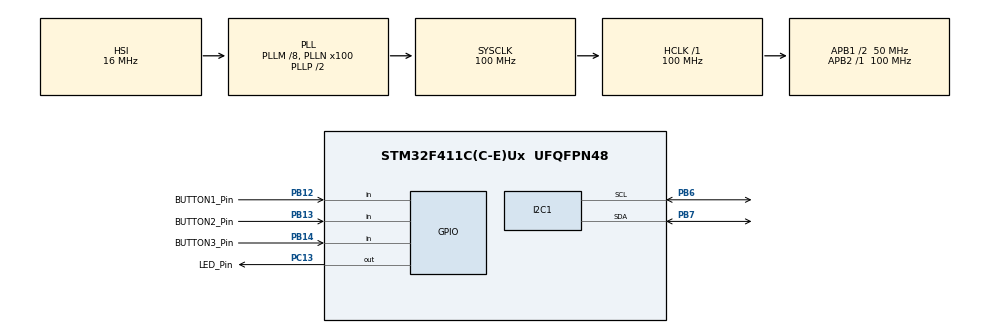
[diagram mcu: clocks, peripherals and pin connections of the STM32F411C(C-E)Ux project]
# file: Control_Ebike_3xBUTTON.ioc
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Mcu.Family=STM32F4
Mcu.Name=STM32F411C(C-E)Ux
Mcu.Package=UFQFPN48
NVIC.PriorityGroup=NVIC_PRIORITYGROUP_4
PA13.Mode=Serial_Wire
PA13.Signal=SYS_JTMS-SWDIO
PA14.Mode=Serial_Wire
PA14.Signal=SYS_JTCK-SWCLK
PB12.GPIO_Label=BUTTON1_Pin
PB12.Signal=GPIO_Input
PB13.GPIO_Label=BUTTON2_Pin
PB13.Signal=GPIO_Input
PB14.GPIO_Label=BUTTON3_Pin
PB14.Signal=GPIO_Input
PB6.Mode=I2C
PB6.Signal=I2C1_SCL
PB7.Mode=I2C
PB7.Signal=I2C1_SDA
PC13-ANTI_TAMP.GPIO_Label=LED_Pin
PC13-ANTI_TAMP.Signal=GPIO_Output
PH0\ -\ OSC_IN.Mode=HSE-External-Oscillator
PH0\ -\ OSC_IN.Signal=RCC_OSC_IN
PH1\ -\ OSC_OUT.Mode=HSE-External-Oscillator
PH1\ -\ OSC_OUT.Signal=RCC_OSC_OUT
ProjectManager.HeapSize=0x200
ProjectManager.StackSize=0x400
ProjectManager.TargetToolchain=STM32CubeIDE
RCC.48MHZClocksFreq_Value=50000000
RCC.AHBFreq_Value=100000000
RCC.APB1CLKDivider=RCC_HCLK_DIV2
RCC.APB1Freq_Value=50000000
RCC.APB1TimFreq_Value=100000000
RCC.APB2Freq_Value=100000000
RCC.APB2TimFreq_Value=100000000
RCC.CortexFreq_Value=100000000
RCC.HCLKFreq_Value=100000000
RCC.HSE_VALUE=25000000
RCC.HSI_VALUE=16000000
RCC.LSE_VALUE=32768
RCC.PLLM=8
RCC.PLLN=100
RCC.SYSCLKFreq_VALUE=100000000
RCC.SYSCLKSource=RCC_SYSCLKSOURCE_PLLCLK
RCC.VCOOutputFreq_Value=200000000
TIM1.Prescaler=100-10
VP_TIM1_VS_ClockSourceINT.Mode=Internal
board=custom

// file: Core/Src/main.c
/* USER CODE BEGIN Header */
/**
  ******************************************************************************
  * @file           : main.c
  * @brief          : Main program body
  ******************************************************************************
  * @attention
  *
  * Copyright (c) 2024 STMicroelectronics.
  * All rights reserved.
  *
  * This software is licensed under terms that can be found in the LICENSE file
  * in the root directory of this software component.
  * If no LICENSE file comes with this software, it is provided AS-IS.
  *
  ******************************************************************************
  */
/* USER CODE END Header */
#include "main.h"
#include "i2c.h"
#include "tim.h"
#include "gpio.h"

/* USER CODE BEGIN Includes */

#include "buttons.h"
#include "stdint.h"

/* USER CODE END Includes */

/* USER CODE BEGIN PV */
BUTTON_T BUTTON1_Pin;
BUTTON_T BUTTON2_Pin;
BUTTON_T BUTTON3_Pin;
/* USER CODE END PV */

void SystemClock_Config(void);
/* USER CODE BEGIN PFP */
void TurnOnLed(void);
void TurnOffLed(void);
void ToggleLed(void);
/* USER CODE END PFP */

int main(void)
{

  /* MCU Configuration--------------------------------------------------------*/

  /* Reset of all peripherals, Initializes the Flash interface and the Systick. */
  HAL_Init();

  /* Configure the system clock */
  SystemClock_Config();

  /* Initialize all configured peripherals */
  MX_GPIO_Init();
  MX_I2C1_Init();
  MX_TIM1_Init();
  /* USER CODE BEGIN 2 */

  Button_Init(&BUTTON1_Pin, BUTTON1_Pin_GPIO_Port, BUTTON1_Pin_Pin, 20, 2000, 500);
  Button_Init(&BUTTON2_Pin, BUTTON2_Pin_GPIO_Port, BUTTON2_Pin_Pin, 30, 2000, 500);
  Button_Init(&BUTTON3_Pin, BUTTON3_Pin_GPIO_Port, BUTTON3_Pin_Pin, 40, 2000, 500);
  Button_Register_Press_CallBack(&BUTTON1_Pin, TurnOnLed);
  Button_Register_LongPress_CallBack(&BUTTON2_Pin, TurnOffLed);
  Button_Register_Repeat_CallBack(&BUTTON3_Pin, ToggleLed);

  /* USER CODE END 2 */

  /* Infinite loop */
  /* USER CODE BEGIN WHILE */
  while (1)
  {

	  Button_Task(&BUTTON1_Pin);
	  Button_Task(&BUTTON2_Pin);
	  Button_Task(&BUTTON3_Pin);
    /* USER CODE END WHILE */

  }
}

void SystemClock_Config(void)
{
  RCC_OscInitTypeDef RCC_OscInitStruct = {0};
  RCC_ClkInitTypeDef RCC_ClkInitStruct = {0};

  /** Configure the main internal regulator output voltage
  */
  __HAL_RCC_PWR_CLK_ENABLE();
  __HAL_PWR_VOLTAGESCALING_CONFIG(PWR_REGULATOR_VOLTAGE_SCALE1);

  /** Initializes the RCC Oscillators according to the specified parameters
  * in the RCC_OscInitTypeDef structure.
  */
  RCC_OscInitStruct.OscillatorType = RCC_OSCILLATORTYPE_HSI;
  RCC_OscInitStruct.HSIState = RCC_HSI_ON;
  RCC_OscInitStruct.HSICalibrationValue = RCC_HSICALIBRATION_DEFAULT;
  RCC_OscInitStruct.PLL.PLLState = RCC_PLL_ON;
  RCC_OscInitStruct.PLL.PLLSource = RCC_PLLSOURCE_HSI;
  RCC_OscInitStruct.PLL.PLLM = 8;
  RCC_OscInitStruct.PLL.PLLN = 100;
  RCC_OscInitStruct.PLL.PLLP = RCC_PLLP_DIV2;
  RCC_OscInitStruct.PLL.PLLQ = 4;
  if (HAL_RCC_OscConfig(&RCC_OscInitStruct) != HAL_OK)
  {
    Error_Handler();
  }

  /** Initializes the CPU, AHB and APB buses clocks
  */
  RCC_ClkInitStruct.ClockType = RCC_CLOCKTYPE_HCLK|RCC_CLOCKTYPE_SYSCLK
                              |RCC_CLOCKTYPE_PCLK1|RCC_CLOCKTYPE_PCLK2;
  RCC_ClkInitStruct.SYSCLKSource = RCC_SYSCLKSOURCE_PLLCLK;
  RCC_ClkInitStruct.AHBCLKDivider = RCC_SYSCLK_DIV1;
  RCC_ClkInitStruct.APB1CLKDivider = RCC_HCLK_DIV2;
  RCC_ClkInitStruct.APB2CLKDivider = RCC_HCLK_DIV1;

  if (HAL_RCC_ClockConfig(&RCC_ClkInitStruct, FLASH_LATENCY_3) != HAL_OK)
  {
    Error_Handler();
  }
}

/* USER CODE BEGIN 4 */
void ToggleLed(void)
{
	HAL_GPIO_TogglePin(LED_Pin_GPIO_Port, LED_Pin_Pin);
}
void TurnOnLed(void)
{
	HAL_GPIO_WritePin(LED_Pin_GPIO_Port, LED_Pin_Pin, GPIO_PIN_RESET);
}
void TurnOffLed(void)
{
	HAL_GPIO_WritePin(LED_Pin_GPIO_Port, LED_Pin_Pin, GPIO_PIN_SET);
}

/* USER CODE END 4 */

void Error_Handler(void)
{
  __disable_irq();
  while (1)
  {
  }
}
